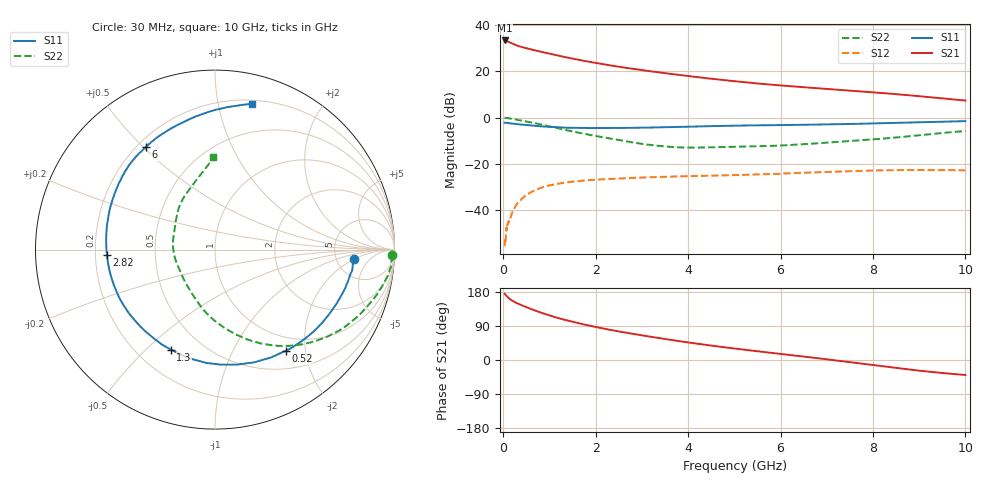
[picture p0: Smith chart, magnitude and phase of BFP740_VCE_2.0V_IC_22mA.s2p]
! Infineon Technologies  Discrete & RF Semiconductors
! BFP740
! VCE =  2.0 V,  IC =  22 mA
! Common Emitter S-Parameters:  Jan 2016
# GHz  S  MA  R  50
!  f  S11  S21  S12  S22
! GHz  MAG  ANG  MAG  ANG  MAG  ANG  MAG  ANG
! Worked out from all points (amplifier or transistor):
!   229 points, 30 MHz to 10 GHz, reference 50 ohm
!   highest |S21| = 33.2 dB at 30 MHz (marker M1)
!   |S21| within 3 dB of that: start of sweep to 433.9 MHz
!   unconditionally stable (mu >= 1): 5.98 GHz to 6.076 GHz; 6.106 GHz to end of sweep
!   at 280 MHz: K = 0.24, MSG = 34.5 dB, |S12| = -37.7 dB
!   at 1.78 GHz: K = 0.46, MSG = 25.7 dB, |S12| = -27.1 dB
!   at 10 GHz: K = 1.03, MAG = 14.0 dB, |S12| = -22.7 dB
!   S11 on the Smith chart (normalised r, x): 30 MHz: 7.39, -1.84; 520 MHz: 0.77, -1.65; 1.3 GHz: 0.34, -0.60; 2.82 GHz: 0.25, -0.02; 6 GHz: 0.23, +0.51; 10 GHz: 0.23, +1.26
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0.03  0.7742 -3.7  45.88 174.9  0.0017 110.0  0.9853 -1.9
0.05  0.7715 -6.5  45.62 172.1  0.002 50.9  0.9839 -4.1
0.08  0.7676 -10.0  44.42 167.7  0.0038 81.2  0.9796 -6.5
0.11  0.7613 -13.7  43.05 164.2  0.0056 77.0  0.9714 -9.0
0.15  0.7529 -18.2  41.11 160.2  0.0066 80.1  0.9554 -12.0
0.2  0.7422 -23.6  39.02 156.1  0.0092 77.1  0.9369 -15.4
0.32  0.7199 -35.9  35.08 148.7  0.0146 72.4  0.8927 -22.6
0.52  0.6878 -55.0  30.84 138.5  0.0222 63.3  0.8209 -33.7
0.7  0.6649 -70.9  27.88 130.1  0.0278 56.7  0.7547 -42.7
0.9  0.6418 -87.1  25.12 121.5  0.0328 49.6  0.681 -51.9
1.1  0.6235 -101.3  22.61 113.8  0.0363 44.3  0.6127 -60.1
1.3  0.6092 -113.9  20.45 106.9  0.0393 39.7  0.5538 -67.3
1.7  0.5969 -134.9  17.05 95.1  0.0436 32.7  0.458 -80.1
2.2  0.5966 -156.1  13.92 82.2  0.0472 26.4  0.3699 -95.2
2.82  0.6028 -177.0  11.18 68.7  0.0503 20.9  0.289 -113.4
3.4  0.6173 167.0  9.328 57.3  0.0526 16.8  0.2445 -133.6
4.2  0.644 148.9  7.439 43.0  0.0553 12.2  0.2267 -162.6
5.1  0.6728 134.3  5.941 28.9  0.0581 8.5  0.2368 172.9
6  0.6893 123.8  4.927 16.2  0.0618 5.8  0.2505 154.2
6.8  0.7083 114.6  4.29 4.8  0.0665 1.7  0.2793 140.1
8.4  0.768 92.7  3.266 -19.4  0.0735 -9.4  0.3651 113.0
10  0.8389 75.7  2.329 -39.6  0.0732 -18.8  0.5136 91.2
